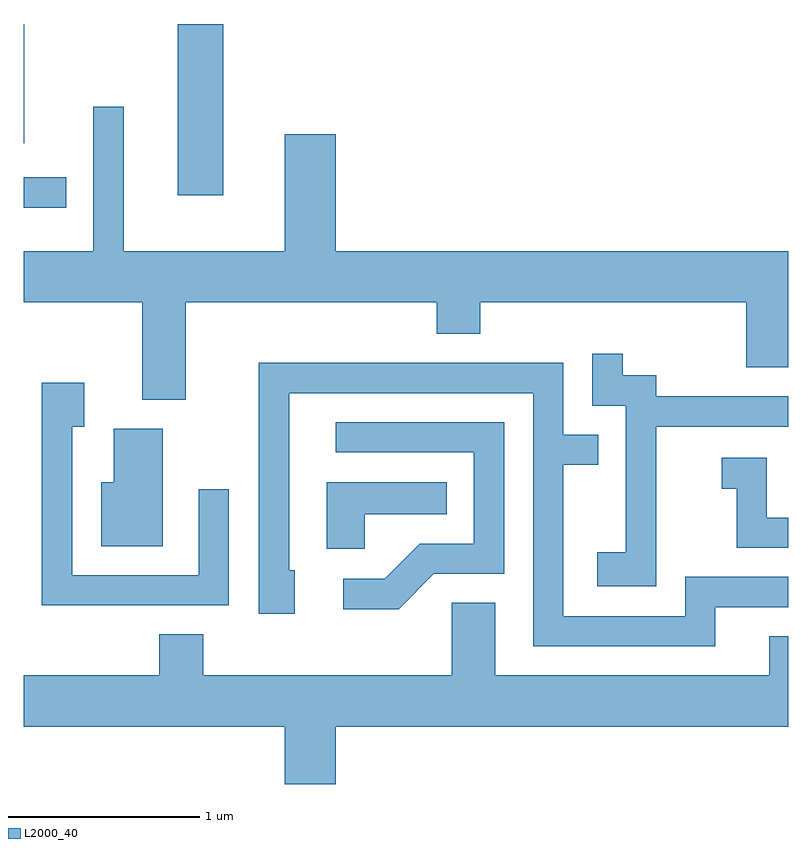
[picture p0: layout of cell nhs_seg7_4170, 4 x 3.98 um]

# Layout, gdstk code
import gdstk
lib = gdstk.Library(unit=1e-6, precision=1e-09)
def R(c, l, rs):  # rectangles x0, y0, x1, y1
    for r in rs: c.add(gdstk.rectangle(r[:2], r[2:], *l))
def P(c, l, *ps):  # polygons
    for p in ps: c.add(gdstk.Polygon(p, *l))
L2000_40 = (2000, 40)

nhs_seg7_4170 = lib.new_cell('nhs_seg7_4170')
R(nhs_seg7_4170, L2000_40, [(313.611,1679.291,313.833,1679.449), (314.416,1679.356,314.654,1680.252), (313.611,1679.628,313.614,1680.252)])
P(nhs_seg7_4170, L2000_40, [(314.459,1678.796),(315.771,1678.796),(315.771,1678.631),(315.999,1678.631),(315.999,1678.796),(317.391,1678.796),(317.391,1678.456),(317.611,1678.456),(317.611,1679.064),(315.244,1679.064),(315.244,1679.674),(314.976,1679.674),(314.976,1679.064),(314.134,1679.064),(314.134,1679.818),(313.976,1679.818),(313.976,1679.064),(313.611,1679.064),(313.611,1678.796),(314.231,1678.796),(314.231,1678.286),(314.459,1678.286)],
  [(316.919,1678.146),(317.611,1678.146),(317.611,1678.304),(316.919,1678.304),(316.919,1678.414),(316.744,1678.414),(316.744,1678.528),(316.586,1678.528),(316.586,1678.256),(316.761,1678.256),(316.761,1677.489),(316.611,1677.489),(316.611,1677.311),(316.919,1677.311)],
  [(317.229,1677.201),(317.611,1677.201),(317.611,1677.359),(317.071,1677.359),(317.071,1677.154),(316.434,1677.154),(316.434,1677.946),(316.618,1677.946),(316.618,1678.104),(316.434,1678.104),(316.434,1678.479),(314.841,1678.479),(314.841,1677.166),(315.029,1677.166),(315.029,1677.394),(314.999,1677.394),(314.999,1678.321),(316.276,1678.321),(316.276,1676.996),(317.229,1676.996)],
  [(314.684,1677.818),(314.526,1677.818),(314.526,1677.369),(313.864,1677.369),(313.864,1678.146),(313.929,1678.146),(313.929,1678.374),(313.706,1678.374),(313.706,1677.211),(314.684,1677.211)],
  [(315.757,1677.376),(316.124,1677.376),(316.124,1678.169),(315.243,1678.169),(315.243,1678.011),(315.966,1678.011),(315.966,1677.534),(315.684,1677.534),(315.499,1677.349),(315.283,1677.349),(315.283,1677.191),(315.572,1677.191)],
  [(314.339,1678.134),(314.081,1678.134),(314.081,1677.854),(314.016,1677.854),(314.016,1677.521),(314.339,1677.521)],
  [(317.611,1677.669),(317.499,1677.669),(317.499,1677.984),(317.263,1677.984),(317.263,1677.821),(317.341,1677.821),(317.341,1677.511),(317.611,1677.511)],
  [(315.394,1677.686),(315.823,1677.686),(315.823,1677.854),(315.196,1677.854),(315.196,1677.506),(315.394,1677.506)],
  [(315.244,1676.576),(317.611,1676.576),(317.611,1677.049),(317.511,1677.049),(317.511,1676.844),(316.079,1676.844),(316.079,1677.224),(315.851,1677.224),(315.851,1676.844),(314.549,1676.844),(314.549,1677.059),(314.321,1677.059),(314.321,1676.844),(313.611,1676.844),(313.611,1676.576),(314.976,1676.576),(314.976,1676.276),(315.244,1676.276)])

lib.write_gds('nhs_seg7_4170.gds')
